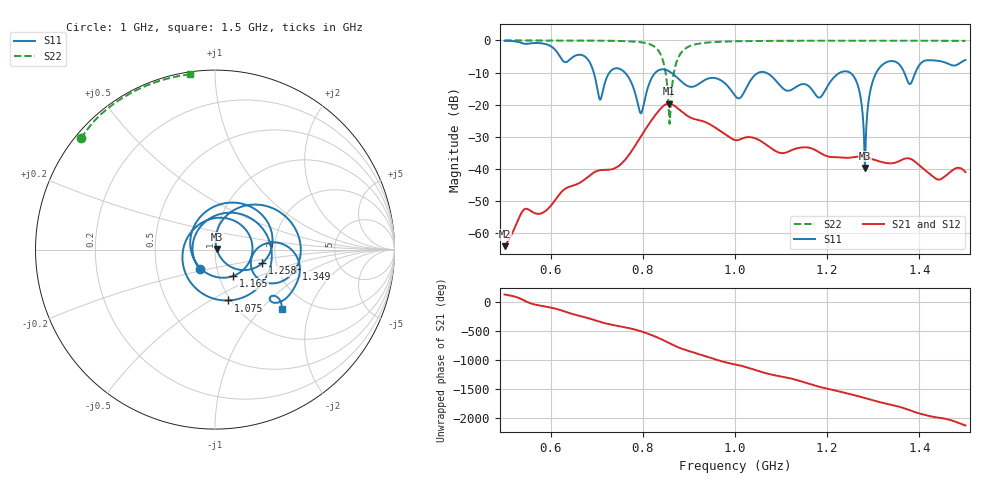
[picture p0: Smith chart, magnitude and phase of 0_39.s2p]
! TOUCHSTONE file generated by CST MICROWAVE STUDIO
! Date and time: Sat Oct 24 10:48:09 2020
! Project name: Scenario_1_Planar_Body_Tissue_Center.cst
! Parameters = {hfat=3; hmuscle=50; hskin=1.5; hgap=25; Wtissue=700; Ltissue=700; L_HA=400; MT=2.54; Rad_Dielectric=30; Rad_Lower=7.3; Rad_Upper=30; a_HA=580; a_WG=246; b_HA=500; b_WG=121; c_HA=0; c_WG=187; d_feed=85; dx1=831.16; h_feed=15; h_lower=18; h_upper=40}
! Header version: 2018
! Port assignment regex: !\s*Touchstone port\s*([0-9]+)\s*=\s*(CST MWS port|CST DS port)\s*([0-9]+|Zmin|Zmax)\s*\(\"(.*)\"\)(\s*mode\s*([0-9]+))?.*
! Touchstone port assignment:
! Touchstone port 1 = CST MWS port 1 ("")
! Touchstone port 2 = CST MWS port 2 ("")
# GHz S DB R 50
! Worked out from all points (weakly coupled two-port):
!   1003 points, 500 MHz to 1.5 GHz, reference 50 ohm
!   highest |S21| = -19.67 dB at 856 MHz (marker M1); lowest = -64.1 dB at 500 MHz (marker M2)
!   lowest |S11| = -39.7 dB at 1.282 GHz (marker M3), VSWR 1.02, Z = 51 + j0.298 ohm
!   |S11| at or under -10 dB: 761 MHz to 827.5 MHz (66.49 MHz wide, 8.37 % of centre); 861.2 MHz to 1.052 GHz (190.5 MHz wide, 19.9 % of centre); 1.067 GHz to 1.228 GHz (161.7 MHz wide, 14.1 % of centre) (the widest 3 of 6)
!   |S22| runs from -26.0 to 0.0 dB; largest |S21 - S12| = 3.8e-05
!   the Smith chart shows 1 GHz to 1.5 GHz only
!   S11 on the Smith chart (normalised r, x): 1 GHz: 0.83, -0.18; 1.075 GHz: 0.98, -0.61; 1.165 GHz: 1.17, -0.35; 1.258 GHz: 1.68, -0.28; 1.349 GHz: 2.51, -0.67; 1.5 GHz: 1.49, -1.31
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0.5  -0.09 -121.9  -64.07 123.5  -64.07 123.5  -0.01 151.1
0.586  -1.03 -168.5  -53.40 -79.2  -53.40 -79.2  -0.02 145.2
0.667  -4.53 141.0  -43.98 107.6  -43.98 107.6  -0.04 138.4
0.698  -12.65 46.5  -40.80 37.2  -40.80 37.2  -0.07 135.1
0.736  -8.90 171.9  -39.98 -41.3  -39.98 -41.3  -0.13 129.9
0.795  -22.65 -37.4  -30.10 -146.2  -30.10 -146.2  -0.55 115.1
0.834  -9.30 120.0  -21.97 97.9  -21.97 97.9  -3.22 83.9
0.856  -9.53 46.7  -19.67 12.6  -19.67 12.6  -20.75 13.1
0.897  -14.18 -101.6  -23.50 -119.6  -23.50 -119.6  -2.11 170.9
0.938  -12.07 87.5  -25.57 137.1  -25.57 137.1  -0.69 152.1
1  -17.22 -127.4  -31.04 2.1  -31.04 2.1  -0.26 140.3
1.033  -12.62 60.6  -30.12 -66.6  -30.12 -66.6  -0.20 136.3
1.075  -10.65 -75.2  -33.24 -164.3  -33.24 -164.3  -0.14 132.0
1.126  -15.10 89.3  -33.99 111.7  -33.99 111.7  -0.11 127.5
1.165  -14.96 -55.0  -33.56 19.8  -33.56 19.8  -0.09 124.4
1.167  -15.32 -63.9  -33.66 14.9  -33.66 14.9  -0.09 124.2
1.258  -11.27 -16.3  -36.36 -163.1  -36.36 -163.2  -0.08 117.3
1.282  -39.74 16.5  -36.34 142.7  -36.34 142.7  -0.08 115.5
1.3  -12.26 64.4  -37.07 103.2  -37.07 103.2  -0.08 114.1
1.334  -6.52 8.6  -38.27 37.6  -38.25 37.6  -0.09 111.6
1.349  -6.69 -13.2  -38.01 10.5  -38.01 10.5  -0.09 110.4
1.5  -6.08 -41.6  -41.00 34.3  -41.00 34.3  -0.13 98.0
